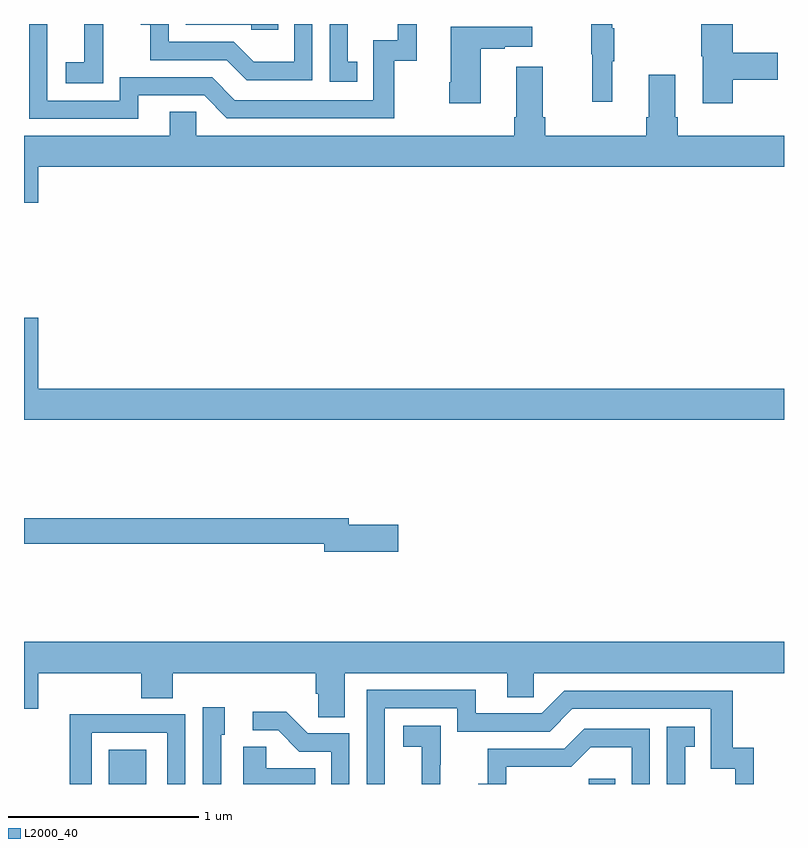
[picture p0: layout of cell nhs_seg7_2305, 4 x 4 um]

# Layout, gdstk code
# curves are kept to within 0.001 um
import gdstk
lib = gdstk.Library(unit=1e-6, precision=1e-09)
def R(c, l, rs):  # rectangles x0, y0, x1, y1
    for r in rs: c.add(gdstk.rectangle(r[:2], r[2:], *l))
def P(c, l, *ps):  # polygons
    for p in ps: c.add(gdstk.Polygon(p, *l))
L2000_40 = (2000, 40)

nhs_seg7_2305 = lib.new_cell('nhs_seg7_2305')
R(nhs_seg7_2305, L2000_40, [(261.446,1032,261.643,1032.181), (263.973,1032,264.113,1032.027)])
P(nhs_seg7_2305, L2000_40, [(261.601,1035.624),(261.948,1035.624),(262.068,1035.504),(262.948,1035.504),(262.948,1035.807),(263.066,1035.807),(263.066,1036),(262.968,1036),(262.968,1035.915),(262.839,1035.915),(262.839,1035.6),(262.11,1035.6),(261.99,1035.72),(261.504,1035.72),(261.504,1035.597),(261.123,1035.597),(261.123,1036),(261.027,1036),(261.027,1035.501),(261.601,1035.501)],
  [(262.518,1036),(262.422,1036),(262.422,1035.802),(262.208,1035.802),(262.104,1035.906),(261.762,1035.906),(261.762,1036),(261.615,1036),(261.615,1035.995),(261.664,1035.995),(261.664,1035.81),(262.067,1035.81),(262.172,1035.705),(262.518,1035.705)],
  [(261.416,1036),(261.317,1036),(261.317,1035.799),(261.219,1035.799),(261.219,1035.689),(261.416,1035.689)],
  [(262.337,1036),(261.852,1036),(261.852,1035.996),(262.197,1035.996),(262.197,1035.969),(262.337,1035.969)],
  [(264.731,1035.706),(264.967,1035.706),(264.967,1035.848),(264.731,1035.848),(264.731,1036),(264.565,1036),(264.565,1035.831),(264.572,1035.831),(264.572,1035.582),(264.731,1035.582)],
  [(262.754,1035.801),(262.705,1035.801),(262.705,1036),(262.608,1036),(262.608,1035.696),(262.754,1035.696)],
  [(264.095,1035.803),(264.106,1035.803),(264.106,1035.977),(264.095,1035.977),(264.095,1036),(263.985,1036),(263.985,1035.84),(263.992,1035.84),(263.992,1035.591),(264.095,1035.591)],
  [(263.404,1035.871),(263.531,1035.871),(263.531,1035.881),(263.674,1035.881),(263.674,1035.985),(263.246,1035.985),(263.246,1035.694),(263.239,1035.694),(263.239,1035.582),(263.404,1035.582)],
  [(265,1035.412),(264.44,1035.412),(264.44,1035.508),(264.427,1035.508),(264.427,1035.733),(264.287,1035.733),(264.287,1035.508),(264.275,1035.508),(264.275,1035.412),(263.744,1035.412),(263.744,1035.508),(263.731,1035.508),(263.731,1035.775),(263.591,1035.775),(263.591,1035.508),(263.579,1035.508),(263.579,1035.412),(261.906,1035.412),(261.906,1035.539),(261.767,1035.539),(261.767,1035.412),(261,1035.412),(261,1035.06),(261.076,1035.06),(261.076,1035.248),(265,1035.248)],
  [(265,1034.08),(261.076,1034.08),(261.076,1034.455),(261,1034.455),(261,1033.916),(265,1033.916)],
  [(262.969,1033.364),(262.708,1033.364),(262.708,1033.4),(261,1033.4),(261,1033.264),(262.58,1033.264),(262.58,1033.222),(262.969,1033.222)],
  [(262.687,1032.584),(263.543,1032.584),(263.543,1032.457),(263.682,1032.457),(263.682,1032.584),(265,1032.584),(265,1032.748),(261,1032.748),(261,1032.396),(261.076,1032.396),(261.076,1032.584),(261.617,1032.584),(261.617,1032.451),(261.782,1032.451),(261.782,1032.584),(262.535,1032.584),(262.535,1032.475),(262.548,1032.475),(262.548,1032.352),(262.687,1032.352)],
  [(262.899,1032.399),(263.28,1032.399),(263.28,1032.276),(263.766,1032.276),(263.886,1032.396),(264.615,1032.396),(264.615,1032.081),(264.744,1032.081),(264.744,1032),(264.842,1032),(264.842,1032.19),(264.731,1032.19),(264.731,1032.492),(263.844,1032.492),(263.724,1032.372),(263.377,1032.372),(263.377,1032.495),(262.803,1032.495),(262.803,1032),(262.899,1032)],
  [(262.038,1032.258),(262.057,1032.258),(262.057,1032.403),(261.942,1032.403),(261.942,1032),(262.038,1032)],
  [(262.713,1032.267),(262.494,1032.267),(262.381,1032.38),(262.203,1032.38),(262.203,1032.282),(262.337,1032.282),(262.448,1032.171),(262.617,1032.171),(262.617,1032),(262.713,1032)],
  [(261.357,1032.27),(261.753,1032.27),(261.753,1032),(261.849,1032),(261.849,1032.366),(261.533,1032.366),(261.533,1032.368),(261.241,1032.368),(261.241,1032),(261.357,1032)],
  [(263.192,1032.101),(263.193,1032.101),(263.193,1032.307),(262.995,1032.307),(262.995,1032.197),(263.093,1032.197),(263.093,1032),(263.192,1032)],
  [(264.481,1032.195),(264.53,1032.195),(264.53,1032.301),(264.384,1032.301),(264.384,1032),(264.481,1032)],
  [(263.538,1032.09),(263.88,1032.09),(263.984,1032.194),(264.198,1032.194),(264.198,1032),(264.294,1032),(264.294,1032.291),(263.948,1032.291),(263.843,1032.186),(263.44,1032.186),(263.44,1032.001),(263.391,1032),(263.538,1032)],
  [(262.532,1032.082),(262.275,1032.082),(262.275,1032.197),(262.154,1032.197),(262.154,1032),(262.532,1032)])

lib.write_gds('nhs_seg7_2305.gds')
